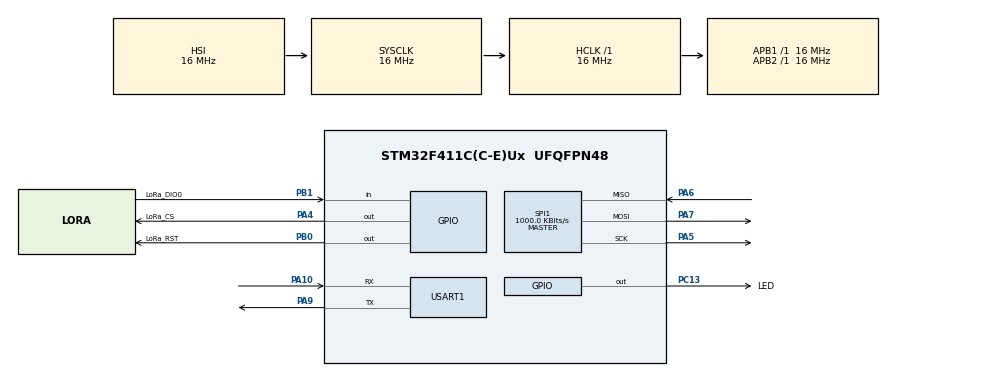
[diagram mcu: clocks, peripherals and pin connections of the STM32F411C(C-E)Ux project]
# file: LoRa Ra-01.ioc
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Mcu.Family=STM32F4
Mcu.Name=STM32F411C(C-E)Ux
Mcu.Package=UFQFPN48
NVIC.PriorityGroup=NVIC_PRIORITYGROUP_4
PA10.Mode=Asynchronous
PA10.Signal=USART1_RX
PA13.Mode=Serial_Wire
PA13.Signal=SYS_JTMS-SWDIO
PA14.Mode=Serial_Wire
PA14.Signal=SYS_JTCK-SWCLK
PA4.GPIO_Label=LoRa_CS
PA4.PinState=GPIO_PIN_SET
PA4.Signal=GPIO_Output
PA5.Mode=Full_Duplex_Master
PA5.Signal=SPI1_SCK
PA6.Mode=Full_Duplex_Master
PA6.Signal=SPI1_MISO
PA7.Mode=Full_Duplex_Master
PA7.Signal=SPI1_MOSI
PA9.Mode=Asynchronous
PA9.Signal=USART1_TX
PB0.GPIO_Label=LoRa_RST
PB0.PinState=GPIO_PIN_SET
PB0.Signal=GPIO_Output
PB1.GPIO_Label=LoRa_DIO0
PB1.GPIO_PuPd=GPIO_PULLDOWN
PB1.Signal=GPIO_Input
PC13-ANTI_TAMP.GPIO_Label=LED
PC13-ANTI_TAMP.PinState=GPIO_PIN_SET
PC13-ANTI_TAMP.Signal=GPIO_Output
ProjectManager.HeapSize=0x200
ProjectManager.StackSize=0x400
ProjectManager.TargetToolchain=STM32CubeIDE
RCC.AHBFreq_Value=16000000
RCC.APB1Freq_Value=16000000
RCC.APB2Freq_Value=16000000
RCC.CortexFreq_Value=16000000
RCC.HSE_VALUE=25000000
RCC.HSI_VALUE=16000000
RCC.LSE_VALUE=32768
RCC.SYSCLKFreq_VALUE=16000000
RCC.VCOOutputFreq_Value=192000000
SPI1.BaudRatePrescaler=SPI_BAUDRATEPRESCALER_16
SPI1.CalculateBaudRate=1000.0 KBits/s
SPI1.Direction=SPI_DIRECTION_2LINES
SPI1.Mode=SPI_MODE_MASTER
SPI1.VirtualType=VM_MASTER
USART1.VirtualMode=VM_ASYNC
board=custom

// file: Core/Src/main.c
/* USER CODE BEGIN Header */
/**
  ******************************************************************************
  * @file           : main.c
  * @brief          : Main program body
  ******************************************************************************
  * @attention
  *
  * Copyright (c) 2026 STMicroelectronics.
  * All rights reserved.
  *
  * This software is licensed under terms that can be found in the LICENSE file
  * in the root directory of this software component.
  * If no LICENSE file comes with this software, it is provided AS-IS.
  *
  ******************************************************************************
  */
/* USER CODE END Header */
#include "main.h"

/* USER CODE BEGIN Includes */
#include <stdio.h>
#include <string.h>
#include <stdarg.h>
#include <stdbool.h>
/* USER CODE END Includes */

/* USER CODE BEGIN PD */
// ============================================================================
// ค่าตั้งต้นวิทยุ LoRa (สำคัญมาก: ต้องตั้งให้ตรงกับไฟล์ LoRa_functions ของฝั่งจรวดเป๊ะ!)
// ============================================================================
#define LORA_FREQUENCY_HZ        433000000UL // ความถี่ 433 MHz (สำหรับ Ra-01 / SX1278)
#define LORA_SYNC_WORD           0x12        // รหัสกลุ่มเครือข่าย (ค่าเริ่มต้น SX1278 = 0x12)
#define LORA_TX_POWER_REG        0x8F        // PA_BOOST ON + กำลังส่ง 17 dBm (Ra-01 ใช้ขา PA_BOOST)
#define LORA_SEND_PERIOD_MS      3000U       // ทดสอบส่งข้อความกลับไปหาจรวดทุกๆ 3 วินาที

// แอดเดรสรีจิสเตอร์หลักของชิป SX1278 (Ra-01)
#define REG_FIFO                 0x00
#define REG_OP_MODE              0x01
#define REG_FRF_MSB              0x06
#define REG_FRF_MID              0x07
#define REG_FRF_LSB              0x08
#define REG_PA_CONFIG            0x09
#define REG_OCP                  0x0B
#define REG_LNA                  0x0C
#define REG_FIFO_ADDR_PTR        0x0D
#define REG_FIFO_TX_BASE_ADDR    0x0E
#define REG_FIFO_RX_BASE_ADDR    0x0F
#define REG_FIFO_RX_CURRENT_ADDR 0x10
#define REG_IRQ_FLAGS            0x12
#define REG_RX_NB_BYTES          0x13
#define REG_PKT_SNR_VALUE        0x19
#define REG_PKT_RSSI_VALUE       0x1A
#define REG_MODEM_CONFIG_1       0x1D
#define REG_MODEM_CONFIG_2       0x1E
#define REG_PREAMBLE_MSB         0x20
#define REG_PREAMBLE_LSB         0x21
#define REG_PAYLOAD_LENGTH       0x22
#define REG_MODEM_CONFIG_3       0x26
#define REG_SYNC_WORD            0x39
#define REG_DIO_MAPPING_1        0x40
#define REG_VERSION              0x42

// โหมดการทำงานของ SX1278 (บิต 7 = 1 คือโหมด LoRa)
#define MODE_LORA_SLEEP          0x80
#define MODE_LORA_STDBY          0x81
#define MODE_LORA_TX             0x83
#define MODE_LORA_RX_CONTINUOUS  0x85

// บิตสถานะ Interrupt ใน REG_IRQ_FLAGS
#define IRQ_TX_DONE_MASK         0x08
#define IRQ_PAYLOAD_CRC_ERR_MASK 0x20
#define IRQ_RX_DONE_MASK         0x40
/* USER CODE END PD */

SPI_HandleTypeDef hspi1;

UART_HandleTypeDef huart1;

/* USER CODE BEGIN PV */
uint8_t  lora_rx_buf[255];      // บัฟเฟอร์เก็บข้อความที่รับมาจากจรวด (สูงสุด 255 เพื่อไม่ให้เกินค่า uint8_t)
char     lora_tx_buf[128];      // บัฟเฟอร์เก็บข้อความที่จะส่งไปหาจรวด
uint8_t  lora_ready = 0;        // สถานะเชื่อมต่อ Ra-01 (1 = พร้อม, 0 = ไม่เจอชิป)
uint32_t tx_counter = 0;        // ตัวนับจำนวนแพ็กเก็ตที่ส่งออกไป
/* USER CODE END PV */

void SystemClock_Config(void);
static void MX_GPIO_Init(void);
static void MX_SPI1_Init(void);
static void MX_USART1_UART_Init(void);
/* USER CODE BEGIN PFP */
void myprintf(const char *fmt, ...);
void LoRa_WriteReg(uint8_t reg, uint8_t val);
uint8_t LoRa_ReadReg(uint8_t reg);
void LoRa_Reset(void);
void LoRa_SetFrequency(uint32_t freq_hz);
bool LoRa_Init(void);
void LoRa_StartReceive(void);
bool LoRa_Send(const uint8_t *data, uint8_t len, uint32_t timeout_ms);
uint8_t LoRa_Receive(uint8_t *buf, uint8_t max_len);
int16_t LoRa_GetRSSI(void);
float LoRa_GetSNR(void);
/* USER CODE END PFP */

/* USER CODE BEGIN 0 */
// ฟังก์ชันพิมพ์ข้อความออก USART1 (ดูผ่าน Serial Monitor ที่ 115200 bps)
void myprintf(const char *fmt, ...)
{
    static char buf[256];
    va_list args;
    va_start(args, fmt);
    int len = vsnprintf(buf, sizeof(buf), fmt, args);
    va_end(args);

    if (len > 0) {
        if (len >= (int)sizeof(buf)) len = (int)sizeof(buf) - 1;
        HAL_UART_Transmit(&huart1, (uint8_t *)buf, (uint16_t)len, 100);
    }
}

// เขียนค่า 1 ไบต์ลงรีจิสเตอร์ของ Ra-01 ผ่าน SPI1
void LoRa_WriteReg(uint8_t reg, uint8_t val)
{
    uint8_t tx[2] = { (uint8_t)(reg | 0x80U), val }; // บิต 7 = 1 แปลว่าคำสั่ง "เขียน"
    HAL_GPIO_WritePin(LoRa_CS_GPIO_Port, LoRa_CS_Pin, GPIO_PIN_RESET); // ดึง CS ลงเพื่อเลือกชิป
    HAL_SPI_Transmit(&hspi1, tx, 2, 100);
    HAL_GPIO_WritePin(LoRa_CS_GPIO_Port, LoRa_CS_Pin, GPIO_PIN_SET);   // ปล่อย CS ขึ้นเมื่อจบ
}

// อ่านค่า 1 ไบต์จากรีจิสเตอร์ของ Ra-01 ผ่าน SPI1
uint8_t LoRa_ReadReg(uint8_t reg)
{
    uint8_t tx[2] = { (uint8_t)(reg & 0x7FU), 0x00U }; // บิต 7 = 0 แปลว่าคำสั่ง "อ่าน"
    uint8_t rx[2] = { 0 };
    HAL_GPIO_WritePin(LoRa_CS_GPIO_Port, LoRa_CS_Pin, GPIO_PIN_RESET);
    HAL_SPI_TransmitReceive(&hspi1, tx, rx, 2, 100);
    HAL_GPIO_WritePin(LoRa_CS_GPIO_Port, LoRa_CS_Pin, GPIO_PIN_SET);
    return rx[1]; // ไบต์ที่ 2 คือข้อมูลที่ชิปตอบกลับมา
}

// รีเซ็ตฮาร์ดแวร์ Ra-01 ก่อนเริ่มตั้งค่า
void LoRa_Reset(void)
{
    HAL_GPIO_WritePin(LoRa_RST_GPIO_Port, LoRa_RST_Pin, GPIO_PIN_RESET);
    HAL_Delay(10);
    HAL_GPIO_WritePin(LoRa_RST_GPIO_Port, LoRa_RST_Pin, GPIO_PIN_SET);
    HAL_Delay(10);
}

// คำนวณและตั้งค่าความถี่วิทยุ (สูตร SX1278: FRF = (Freq * 2^19) / 32MHz)
void LoRa_SetFrequency(uint32_t freq_hz)
{
    uint64_t frf = ((uint64_t)freq_hz << 19) / 32000000ULL;
    LoRa_WriteReg(REG_FRF_MSB, (uint8_t)(frf >> 16));
    LoRa_WriteReg(REG_FRF_MID, (uint8_t)(frf >> 8));
    LoRa_WriteReg(REG_FRF_LSB, (uint8_t)(frf >> 0));
}

// เริ่มต้นการทำงานและตั้งค่าพารามิเตอร์ทั้งหมดของ Ra-01
bool LoRa_Init(void)
{
    HAL_GPIO_WritePin(LoRa_CS_GPIO_Port, LoRa_CS_Pin, GPIO_PIN_SET);
    LoRa_Reset();

    // 1. ตรวจสอบเวอร์ชันชิป SX1278 ต้องอ่านได้ 0x12 (เหมือนโค้ดฝั่งจรวด)
    uint8_t version = LoRa_ReadReg(REG_VERSION);
    myprintf("[LoRa] RegVersion = 0x%02X (expected 0x12)\r\n", version);
    if (version != 0x12) {
        return false; // ต่อสาย SPI ผิด หรือไฟเลี้ยง 3.3V ไม่เข้า
    }

    // 2. เข้าโหมด Sleep ก่อนเปลี่ยนเป็นโหมด LoRa (ข้อบังคับของ SX1278)
    LoRa_WriteReg(REG_OP_MODE, MODE_LORA_SLEEP);
    HAL_Delay(10);

    // 3. ตั้งความถี่ 433 MHz
    LoRa_SetFrequency(LORA_FREQUENCY_HZ);

    // 4. ตั้งตำแหน่งเริ่มต้นของหน่วยความจำ FIFO สำหรับรับและส่งให้ใช้ได้เต็ม 256 ไบต์
    LoRa_WriteReg(REG_FIFO_TX_BASE_ADDR, 0x00);
    LoRa_WriteReg(REG_FIFO_RX_BASE_ADDR, 0x00);

    // 5. เปิด LNA Boost (เพิ่มความไวภาครับ) และเปิด AGC (ปรับเกนอัตโนมัติ)
    LoRa_WriteReg(REG_LNA, LoRa_ReadReg(REG_LNA) | 0x03);
    LoRa_WriteReg(REG_MODEM_CONFIG_3, 0x04);

    // 6. ตั้งค่าโมเด็ม: BW = 125 kHz (0x70), CR = 4/5 (0x02), Explicit Header (0x00)
    LoRa_WriteReg(REG_MODEM_CONFIG_1, 0x72);

    // 7. ตั้งค่าโมเด็ม: SF = 7 (0x70), เปิดตรวจสอบความถูกต้องข้อมูล CRC (0x04)
    LoRa_WriteReg(REG_MODEM_CONFIG_2, 0x74);

    // 8. ตั้ง Preamble = 8 symbols และ Sync Word = 0x12
    LoRa_WriteReg(REG_PREAMBLE_MSB, 0x00);
    LoRa_WriteReg(REG_PREAMBLE_LSB, 0x08);
    LoRa_WriteReg(REG_SYNC_WORD, LORA_SYNC_WORD);

    // 9. ตั้งกำลังส่ง 17 dBm และตั้งระบบป้องกันกระแสเกิน (OCP) ที่ 100 mA
    LoRa_WriteReg(REG_OCP, 0x2B);
    LoRa_WriteReg(REG_PA_CONFIG, LORA_TX_POWER_REG);

    // 10. ล้างธงแจ้งเตือน (IRQ) ทั้งหมด แล้วสลับไปโหมด Standby
    LoRa_WriteReg(REG_IRQ_FLAGS, 0xFF);
    LoRa_WriteReg(REG_OP_MODE, MODE_LORA_STDBY);
    return true;
}

// สั่งให้ Ra-01 เปิดหูรอรับข้อมูลตลอดเวลา (RX Continuous)
void LoRa_StartReceive(void)
{
    LoRa_WriteReg(REG_DIO_MAPPING_1, 0x00); // ให้ขา DIO0 แจ้งเตือนเมื่อ RxDone
    LoRa_WriteReg(REG_IRQ_FLAGS, 0xFF);     // ล้างธงเก่าทิ้ง
    LoRa_WriteReg(REG_OP_MODE, MODE_LORA_RX_CONTINUOUS);
}

// ฟังก์ชันส่งข้อมูลออกทาง LoRa (ส่งเสร็จจะสลับกลับมารอรับอัตโนมัติ)
bool LoRa_Send(const uint8_t *data, uint8_t len, uint32_t timeout_ms)
{
    if (len == 0) return false;

    // 1. พักภาครับเข้าโหมด Standby ก่อนเขียนข้อมูลลง FIFO
    LoRa_WriteReg(REG_OP_MODE, MODE_LORA_STDBY);
    LoRa_WriteReg(REG_FIFO_ADDR_PTR, 0x00);
    LoRa_WriteReg(REG_PAYLOAD_LENGTH, len);

    // 2. เขียนชุดข้อมูล (Burst Write) ลงใน FIFO
    uint8_t addr = REG_FIFO | 0x80U;
    HAL_GPIO_WritePin(LoRa_CS_GPIO_Port, LoRa_CS_Pin, GPIO_PIN_RESET);
    HAL_SPI_Transmit(&hspi1, &addr, 1, 100);
    HAL_SPI_Transmit(&hspi1, (uint8_t *)data, len, 100);
    HAL_GPIO_WritePin(LoRa_CS_GPIO_Port, LoRa_CS_Pin, GPIO_PIN_SET);

    // 3. ล้างธงเก่าแล้วสั่งเริ่มส่งสัญญาณวิทยุ (TX Mode)
    LoRa_WriteReg(REG_IRQ_FLAGS, 0xFF);
    LoRa_WriteReg(REG_OP_MODE, MODE_LORA_TX);

    // 4. รอจนกว่าบิต TxDone จะติด หรือครบเวลา timeout
    uint32_t start = HAL_GetTick();
    while ((LoRa_ReadReg(REG_IRQ_FLAGS) & IRQ_TX_DONE_MASK) == 0) {
        if ((HAL_GetTick() - start) >= timeout_ms) {
            LoRa_StartReceive(); // ส่งไม่ทันเวลา ให้กลับไปรอรับ
            return false;
        }
    }

    // 5. ส่งสำเร็จ -> ล้างธงแล้วกลับไปเปิดรอรับข้อมูลทันที
    LoRa_WriteReg(REG_IRQ_FLAGS, 0xFF);
    LoRa_StartReceive();
    return true;
}

// ฟังก์ชันเช็กและอ่านข้อมูลที่รับเข้ามา (คืนค่าจำนวนไบต์ที่รับได้, 0 = ยังไม่มีข้อมูล)
uint8_t LoRa_Receive(uint8_t *buf, uint8_t max_len)
{
    if (max_len < 2) return 0;

    // เช็กว่ามีแพ็กเก็ตเข้ามารึยัง (อ่านจากรีจิสเตอร์โดยตรง ทำงานได้แม้ยังไม่ต่อขา DIO0)
    uint8_t irq = LoRa_ReadReg(REG_IRQ_FLAGS);
    if ((irq & IRQ_RX_DONE_MASK) == 0) {
        return 0;
    }

    // ล้างธงแจ้งเตือนเพื่อเตรียมรับแพ็กเก็ตถัดไป
    LoRa_WriteReg(REG_IRQ_FLAGS, 0xFF);

    // ถ้า CRC ผิดพลาด (สัญญาณเพี้ยน/รบกวน) ให้ทิ้งแพ็กเก็ตนี้ไป
    if (irq & IRQ_PAYLOAD_CRC_ERR_MASK) {
        myprintf("[LoRa] RX CRC Error!\r\n");
        return 0;
    }

    // อ่านความยาวข้อมูลและตำแหน่งเริ่มต้นใน FIFO
    uint8_t rx_len = LoRa_ReadReg(REG_RX_NB_BYTES);
    uint8_t rx_addr = LoRa_ReadReg(REG_FIFO_RX_CURRENT_ADDR);
    LoRa_WriteReg(REG_FIFO_ADDR_PTR, rx_addr);

    // กันเขียนเกินขนาดบัฟเฟอร์ (เผื่อ 1 ไบต์ไว้ปิดท้าย '\0' สำหรับพิมพ์เป็นข้อความ)
    uint8_t copy_len = (rx_len < (max_len - 1)) ? rx_len : (max_len - 1);

    // อ่านชุดข้อมูล (Burst Read) ออกจาก FIFO
    uint8_t addr = REG_FIFO & 0x7FU;
    HAL_GPIO_WritePin(LoRa_CS_GPIO_Port, LoRa_CS_Pin, GPIO_PIN_RESET);
    HAL_SPI_Transmit(&hspi1, &addr, 1, 100);
    HAL_SPI_Receive(&hspi1, buf, copy_len, 100);
    HAL_GPIO_WritePin(LoRa_CS_GPIO_Port, LoRa_CS_Pin, GPIO_PIN_SET);

    buf[copy_len] = '\0'; // ปิดท้ายสตริงเพื่อให้ printf แสดงผลได้ทันที
    return copy_len;
}

// อ่านความแรงสัญญาณ RSSI (หน่วย dBm: ยิ่งใกล้ 0 ยิ่งแรง เช่น -60 แรงกว่า -110)
int16_t LoRa_GetRSSI(void)
{
    return (int16_t)LoRa_ReadReg(REG_PKT_RSSI_VALUE) - 164; // สูตรย่าน 433 MHz ของ SX1278
}

// อ่านอัตราส่วนสัญญาณต่อสัญญาณรบกวน SNR (หน่วย dB: ค่าบวกยิ่งดี)
float LoRa_GetSNR(void)
{
    return ((int8_t)LoRa_ReadReg(REG_PKT_SNR_VALUE)) / 4.0f;
}
/* USER CODE END 0 */

int main(void)
{

  /* MCU Configuration--------------------------------------------------------*/

  /* Reset of all peripherals, Initializes the Flash interface and the Systick. */
  HAL_Init();

  /* Configure the system clock */
  SystemClock_Config();

  /* Initialize all configured peripherals */
  MX_GPIO_Init();
  MX_SPI1_Init();
  MX_USART1_UART_Init();

  /* USER CODE BEGIN 2 */
  myprintf("\r\n=== STM32F411 GROUND STATION (Ra-01) ===\r\n");

  if (LoRa_Init()) {
      lora_ready = 1;
      LoRa_StartReceive(); // เริ่มเปิดรอรับข้อมูลจากบอร์ดจรวดทันที
      myprintf("[LoRa] Init OK! Listening at 433 MHz...\r\n");
  } else {
      lora_ready = 0;
      myprintf("[LoRa] Init FAILED! Check wiring (SPI1, CS=PA4, RST=PB0, 3.3V)\r\n");
  }

  uint32_t last_tx_tick = HAL_GetTick();
  /* USER CODE END 2 */

  /* Infinite loop */
  /* USER CODE BEGIN WHILE */
  while (1)
  {
      if (lora_ready)
      {
          // 1. ภาครับ: ตรวจเช็กข้อมูลจากบอร์ดจรวดตลอดเวลา (ทำงานลื่นไม่หน่วง)
          uint8_t rx_len = LoRa_Receive(lora_rx_buf, sizeof(lora_rx_buf));
          if (rx_len > 0) {
              HAL_GPIO_TogglePin(LED_GPIO_Port, LED_Pin); // กะพริบไฟ PC13 เมื่อรับข้อมูลได้
              myprintf("[RX %u B | RSSI:%d dBm | SNR:%.1f dB] %s\r\n",
                       rx_len, LoRa_GetRSSI(), LoRa_GetSNR(), (char *)lora_rx_buf);
          }

          // 2. ภาคส่ง: ส่งข้อความทดสอบกลับไปหาบอร์ดจรวดทุกๆ 3 วินาที (Non-Blocking)
          // (ถ้าอยากให้บอร์ดนี้เป็น "ตัวรับอย่างเดียว" ให้คอมเมนต์บล็อก if นี้ทิ้งได้เลย)
          if ((HAL_GetTick() - last_tx_tick) >= LORA_SEND_PERIOD_MS) {
              last_tx_tick = HAL_GetTick();
              tx_counter++;

              int len = snprintf(lora_tx_buf, sizeof(lora_tx_buf),
                                 "GS_PING #%lu", (unsigned long)tx_counter);
              if (len > 0 && LoRa_Send((uint8_t *)lora_tx_buf, (uint8_t)len, 1000U)) {
                  myprintf("[TX OK] %s\r\n", lora_tx_buf);
              } else {
                  myprintf("[TX TIMEOUT]\r\n");
              }
          }
      }
      else
      {
          // ถ้าเชื่อมต่อ Ra-01 ไม่ติดตอนเปิดเครื่อง ให้ลองใหม่ทุก 2 วินาที
          HAL_GPIO_TogglePin(LED_GPIO_Port, LED_Pin);
          HAL_Delay(2000);
          if (LoRa_Init()) {
              lora_ready = 1;
              LoRa_StartReceive();
              myprintf("[LoRa] Reconnected!\r\n");
          }
      }
    /* USER CODE END WHILE */

  }
}

void SystemClock_Config(void)
{
  RCC_OscInitTypeDef RCC_OscInitStruct = {0};
  RCC_ClkInitTypeDef RCC_ClkInitStruct = {0};

  /** Configure the main internal regulator output voltage
  */
  __HAL_RCC_PWR_CLK_ENABLE();
  __HAL_PWR_VOLTAGESCALING_CONFIG(PWR_REGULATOR_VOLTAGE_SCALE1);

  /** Initializes the RCC Oscillators according to the specified parameters
  * in the RCC_OscInitTypeDef structure.
  */
  RCC_OscInitStruct.OscillatorType = RCC_OSCILLATORTYPE_HSI;
  RCC_OscInitStruct.HSIState = RCC_HSI_ON;
  RCC_OscInitStruct.HSICalibrationValue = RCC_HSICALIBRATION_DEFAULT;
  RCC_OscInitStruct.PLL.PLLState = RCC_PLL_NONE;
  if (HAL_RCC_OscConfig(&RCC_OscInitStruct) != HAL_OK)
  {
    Error_Handler();
  }

  /** Initializes the CPU, AHB and APB buses clocks
  */
  RCC_ClkInitStruct.ClockType = RCC_CLOCKTYPE_HCLK | RCC_CLOCKTYPE_SYSCLK
                              | RCC_CLOCKTYPE_PCLK1 | RCC_CLOCKTYPE_PCLK2;
  RCC_ClkInitStruct.SYSCLKSource = RCC_SYSCLKSOURCE_HSI;
  RCC_ClkInitStruct.AHBCLKDivider = RCC_SYSCLK_DIV1;
  RCC_ClkInitStruct.APB1CLKDivider = RCC_HCLK_DIV1;
  RCC_ClkInitStruct.APB2CLKDivider = RCC_HCLK_DIV1;

  if (HAL_RCC_ClockConfig(&RCC_ClkInitStruct, FLASH_LATENCY_0) != HAL_OK)
  {
    Error_Handler();
  }
}

static void MX_SPI1_Init(void)
{

  hspi1.Instance = SPI1;
  hspi1.Init.Mode = SPI_MODE_MASTER;
  hspi1.Init.Direction = SPI_DIRECTION_2LINES;
  hspi1.Init.DataSize = SPI_DATASIZE_8BIT;
  hspi1.Init.CLKPolarity = SPI_POLARITY_LOW;
  hspi1.Init.CLKPhase = SPI_PHASE_1EDGE;
  hspi1.Init.NSS = SPI_NSS_SOFT;
  hspi1.Init.BaudRatePrescaler = SPI_BAUDRATEPRESCALER_16;
  hspi1.Init.FirstBit = SPI_FIRSTBIT_MSB;
  hspi1.Init.TIMode = SPI_TIMODE_DISABLE;
  hspi1.Init.CRCCalculation = SPI_CRCCALCULATION_DISABLE;
  hspi1.Init.CRCPolynomial = 10;
  if (HAL_SPI_Init(&hspi1) != HAL_OK)
  {
    Error_Handler();
  }
}

static void MX_USART1_UART_Init(void)
{

  huart1.Instance = USART1;
  huart1.Init.BaudRate = 115200;
  huart1.Init.WordLength = UART_WORDLENGTH_8B;
  huart1.Init.StopBits = UART_STOPBITS_1;
  huart1.Init.Parity = UART_PARITY_NONE;
  huart1.Init.Mode = UART_MODE_TX_RX;
  huart1.Init.HwFlowCtl = UART_HWCONTROL_NONE;
  huart1.Init.OverSampling = UART_OVERSAMPLING_16;
  if (HAL_UART_Init(&huart1) != HAL_OK)
  {
    Error_Handler();
  }
}

static void MX_GPIO_Init(void)
{
  GPIO_InitTypeDef GPIO_InitStruct = {0};

  /* GPIO Ports Clock Enable */
  __HAL_RCC_GPIOC_CLK_ENABLE();
  __HAL_RCC_GPIOA_CLK_ENABLE();
  __HAL_RCC_GPIOB_CLK_ENABLE();

  /*Configure GPIO pin Output Level */
  HAL_GPIO_WritePin(LED_GPIO_Port, LED_Pin, GPIO_PIN_SET);

  /*Configure GPIO pin Output Level */
  HAL_GPIO_WritePin(LoRa_CS_GPIO_Port, LoRa_CS_Pin, GPIO_PIN_SET);

  /*Configure GPIO pin Output Level */
  HAL_GPIO_WritePin(LoRa_RST_GPIO_Port, LoRa_RST_Pin, GPIO_PIN_SET);

  /*Configure GPIO pin : LED_Pin */
  GPIO_InitStruct.Pin = LED_Pin;
  GPIO_InitStruct.Mode = GPIO_MODE_OUTPUT_PP;
  GPIO_InitStruct.Pull = GPIO_NOPULL;
  GPIO_InitStruct.Speed = GPIO_SPEED_FREQ_LOW;
  HAL_GPIO_Init(LED_GPIO_Port, &GPIO_InitStruct);

  /*Configure GPIO pin : LoRa_CS_Pin */
  GPIO_InitStruct.Pin = LoRa_CS_Pin;
  GPIO_InitStruct.Mode = GPIO_MODE_OUTPUT_PP;
  GPIO_InitStruct.Pull = GPIO_NOPULL;
  GPIO_InitStruct.Speed = GPIO_SPEED_FREQ_LOW;
  HAL_GPIO_Init(LoRa_CS_GPIO_Port, &GPIO_InitStruct);

  /*Configure GPIO pin : LoRa_RST_Pin */
  GPIO_InitStruct.Pin = LoRa_RST_Pin;
  GPIO_InitStruct.Mode = GPIO_MODE_OUTPUT_PP;
  GPIO_InitStruct.Pull = GPIO_NOPULL;
  GPIO_InitStruct.Speed = GPIO_SPEED_FREQ_LOW;
  HAL_GPIO_Init(LoRa_RST_GPIO_Port, &GPIO_InitStruct);

  /*Configure GPIO pin : LoRa_DIO0_Pin */
  GPIO_InitStruct.Pin = LoRa_DIO0_Pin;
  GPIO_InitStruct.Mode = GPIO_MODE_INPUT;
  GPIO_InitStruct.Pull = GPIO_PULLDOWN;
  HAL_GPIO_Init(LoRa_DIO0_GPIO_Port, &GPIO_InitStruct);

}

void Error_Handler(void)
{
  __disable_irq();
  while (1)
  {
  }
}
